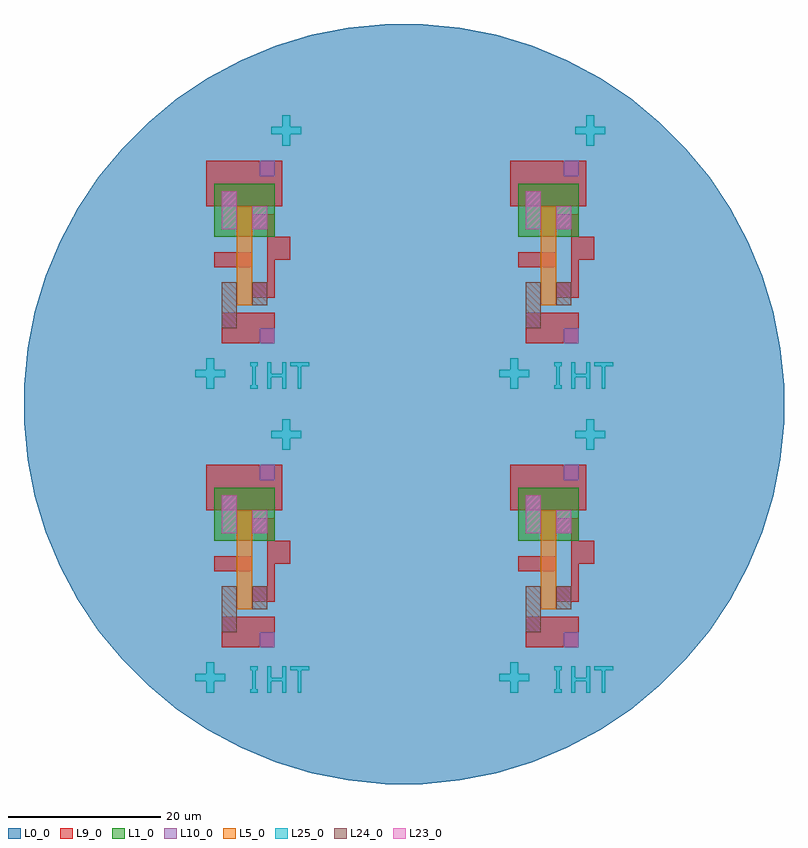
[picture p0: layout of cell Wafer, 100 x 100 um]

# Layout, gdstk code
import gdstk
lib = gdstk.Library(unit=1e-6, precision=1e-09)
def R(c, l, rs):  # rectangles x0, y0, x1, y1
    for r in rs: c.add(gdstk.rectangle(r[:2], r[2:], *l))
def P(c, l, *ps):  # polygons
    for p in ps: c.add(gdstk.Polygon(p, *l))
L0_0 = (0, 0)
L1_0 = (1, 0)
L5_0 = (5, 0)
L9_0 = (9, 0)
L10_0 = (10, 0)
L23_0 = (23, 0)
L24_0 = (24, 0)
L25_0 = (25, 0)

text = lib.new_cell('TEXT')
P(text, L25_0, [(0.75,0),(0.75,0.5),(1,0.5),(1,3),(0.75,3),(0.75,3.5),(1.75,3.5),(1.75,3),(1.5,3),(1.5,0.5),(1.75,0.5),(1.75,0)],
  [(3,0),(3,3.5),(3.5,3.5),(3.5,2),(5,2),(5,3.5),(5.5,3.5),(5.5,0),(5,0),(5,1.5),(3.5,1.5),(3.5,0)],
  [(7,0),(7,3),(6,3),(6,3.5),(8.5,3.5),(8.5,3),(7.5,3),(7.5,0)])

top = lib.new_cell('TOP')
P(top, L0_0, [(-8,-19),(-8,-2),(-8,19),(9,19),(9,17),(9,15),(9,-19)])
R(top, L1_0, [(-4,2,4,9)])
R(top, L5_0, [(-1,-7,1,6)])
R(top, L9_0, [(-3,-12,4,-8), (-4,-2,1,0), (-5,6,5,12)])
P(top, L9_0, [(1,-6),(1,-4),(3,-4),(3,3),(1,3),(1,5),(4,5),(4,2),(6,2),(6,-1),(4,-1),(4,-6)])
R(top, L10_0, [(2,-12,4,-10), (-3,-10,-1,-8), (1,-6,3,-4), (-1,-2,1,0), (1,3,3,5), (-3,6,-1,8), (2,10,4,12), (2,10,4,12)])
R(top, L23_0, [(-3,3,-1,8), (1,3,3,6)])
R(top, L24_0, [(-3,-10,-1,-4), (1,-7,3,-4)])
P(top, L25_0, [(-5,-18),(-5,-16.5),(-6.5,-16.5),(-6.5,-15.5),(-5,-15.5),(-5,-14),(-4,-14),(-4,-15.5),(-2.5,-15.5),(-2.5,-16.5),(-4,-16.5),(-4,-18)],
  [(5,14),(5,15.5),(3.5,15.5),(3.5,16.5),(5,16.5),(5,18),(6,18),(6,16.5),(7.5,16.5),(7.5,15.5),(6,15.5),(6,14)])
top.add(gdstk.Reference(text, (0,-18)))
top.add(gdstk.Label('I/P', (-9,-2), layer=9, texttype=0))
top.add(gdstk.Label('O/P', (8,-1), layer=9, texttype=0))
top.add(gdstk.Label('1.0V', (-2,15), layer=9, texttype=0))
top.add(gdstk.Label('0.0V', (-2,-15), layer=9, texttype=0))

circle = lib.new_cell('CIRCLE')
P(circle, L0_0, [(-2.456,-50),(-7.345,-49.518),(-12.164,-48.56),(-16.865,-47.134),(-21.404,-45.254),(-25.736,-42.938),(-29.821,-40.209),(-33.618,-37.092),(-37.092,-33.618),(-40.209,-29.821),(-42.938,-25.736),(-45.254,-21.404),(-47.134,-16.865),(-48.56,-12.164),(-49.518,-7.345),(-50,-2.456),(-50,2.456),(-49.518,7.345),(-48.56,12.164),(-47.134,16.865),(-45.254,21.404),(-42.938,25.736),(-40.209,29.821),(-37.092,33.618),(-33.618,37.092),(-29.821,40.209),(-25.736,42.938),(-21.404,45.254),(-16.865,47.134),(-12.164,48.56),(-7.345,49.518),(-2.456,50),(2.456,50),(7.345,49.518),(12.164,48.56),(16.865,47.134),(21.404,45.254),(25.736,42.938),(29.821,40.209),(33.618,37.092),(37.092,33.618),(40.209,29.821),(42.938,25.736),(45.254,21.404),(47.134,16.865),(48.56,12.164),(49.518,7.345),(50,2.456),(50,-2.456),(49.518,-7.345),(48.56,-12.164),(47.134,-16.865),(45.254,-21.404),(42.938,-25.736),(40.209,-29.821),(37.092,-33.618),(33.618,-37.092),(29.821,-40.209),(25.736,-42.938),(21.404,-45.254),(16.865,-47.134),(12.164,-48.56),(7.345,-49.518),(2.456,-50)])

wafer = lib.new_cell('Wafer')
r = gdstk.Reference(top, (-21,-20)); r.repetition = gdstk.Repetition(2, 2, v1=(40,0), v2=(0,40)); wafer.add(r)
wafer.add(gdstk.Reference(circle, (0,0)))

lib.write_gds('Wafer.gds')
